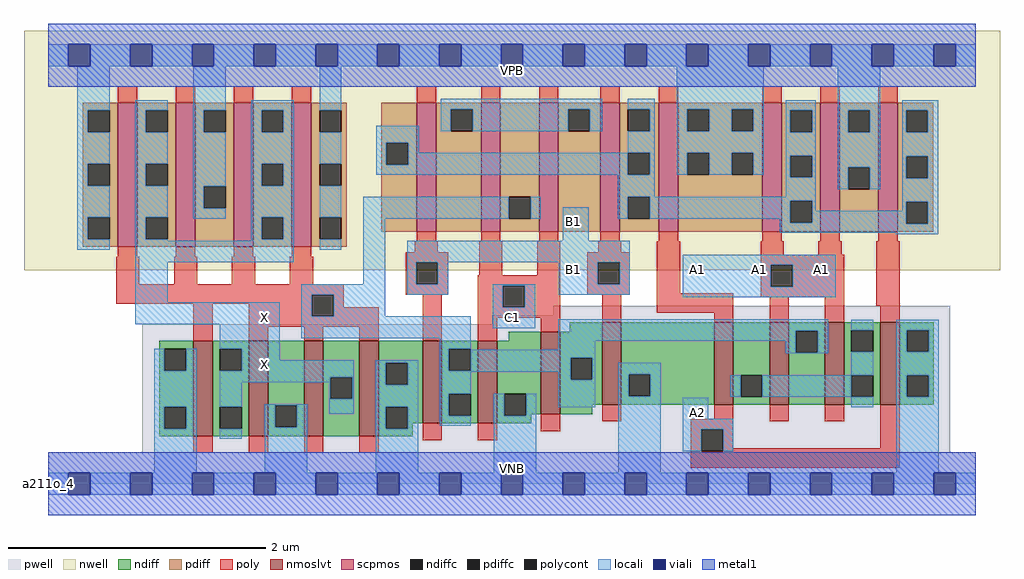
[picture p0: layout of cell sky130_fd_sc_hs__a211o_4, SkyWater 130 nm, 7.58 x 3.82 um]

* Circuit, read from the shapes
.subckt sky130_fd_sc_hs__a211o_4 A1 A2 B1 C1 VGND VNB VPB VPWR X
XM1 X n1 VGND VNB sky130_fd_pr__nfet_01v8_lvt w=0.74 l=0.15 m=4
XM2 n1 B1 VGND VNB sky130_fd_pr__nfet_01v8_lvt w=0.64 l=0.15 m=2
XM3 VGND C1 n1 VNB sky130_fd_pr__nfet_01v8_lvt w=0.64 l=0.15 m=2
XM4 n2 A2 VGND VNB sky130_fd_pr__nfet_01v8_lvt w=0.64 l=0.15 m=2
XM5 n1 A1 n2 VNB sky130_fd_pr__nfet_01v8_lvt w=0.64 l=0.15 m=2
XM6 X n1 VPWR VPB sky130_fd_pr__pfet_01v8 w=1.12 l=0.15 m=4
XM7 n3 B1 n4 VPB sky130_fd_pr__pfet_01v8 w=1 l=0.15 m=2
XM8 n1 C1 n3 VPB sky130_fd_pr__pfet_01v8 w=1 l=0.15 m=2
XM9 VPWR A2 n4 VPB sky130_fd_pr__pfet_01v8 w=1 l=0.15 m=2
XM10 n4 A1 VPWR VPB sky130_fd_pr__pfet_01v8 w=1 l=0.15 m=2
.ends

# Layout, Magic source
magic
tech sky130A
magscale 1 2
<< nwell >>
rect -38 332 1478 704
<< pwell >>
rect 784 262 1401 277
rect 689 248 1401 262
rect 146 49 1401 248
rect 0 0 1440 49
<< scpmos >>
rect 108 368 138 592
rect 198 368 228 592
rect 288 368 318 592
rect 378 368 408 592
rect 572 392 602 592
rect 672 392 702 592
rect 762 392 792 592
rect 857 392 887 592
rect 948 392 978 592
rect 1109 392 1139 592
rect 1199 392 1229 592
rect 1289 392 1319 592
<< nmoslvt >>
rect 225 74 255 222
rect 311 74 341 222
rect 397 74 427 222
rect 483 74 513 222
rect 581 94 611 222
rect 667 94 697 222
rect 765 108 795 236
rect 860 123 890 251
rect 1034 123 1064 251
rect 1120 123 1150 251
rect 1206 123 1236 251
rect 1292 123 1322 251
<< ndiff >>
rect 810 236 860 251
rect 715 222 765 236
rect 172 210 225 222
rect 172 176 180 210
rect 214 176 225 210
rect 172 120 225 176
rect 172 86 180 120
rect 214 86 225 120
rect 172 74 225 86
rect 255 210 311 222
rect 255 176 266 210
rect 300 176 311 210
rect 255 120 311 176
rect 255 86 266 120
rect 300 86 311 120
rect 255 74 311 86
rect 341 122 397 222
rect 341 88 352 122
rect 386 88 397 122
rect 341 74 397 88
rect 427 166 483 222
rect 427 132 438 166
rect 472 132 483 166
rect 427 74 483 132
rect 513 188 581 222
rect 513 154 524 188
rect 558 154 581 188
rect 513 120 581 154
rect 513 86 524 120
rect 558 94 581 120
rect 611 210 667 222
rect 611 176 622 210
rect 656 176 667 210
rect 611 140 667 176
rect 611 106 622 140
rect 656 106 667 140
rect 611 94 667 106
rect 697 140 765 222
rect 697 106 708 140
rect 742 108 765 140
rect 795 196 860 236
rect 795 162 811 196
rect 845 162 860 196
rect 795 123 860 162
rect 890 170 1034 251
rect 890 136 901 170
rect 935 136 1034 170
rect 890 123 1034 136
rect 1064 169 1120 251
rect 1064 135 1075 169
rect 1109 135 1120 169
rect 1064 123 1120 135
rect 1150 238 1206 251
rect 1150 204 1161 238
rect 1195 204 1206 238
rect 1150 123 1206 204
rect 1236 239 1292 251
rect 1236 205 1247 239
rect 1281 205 1292 239
rect 1236 169 1292 205
rect 1236 135 1247 169
rect 1281 135 1292 169
rect 1236 123 1292 135
rect 1322 239 1375 251
rect 1322 205 1333 239
rect 1367 205 1375 239
rect 1322 169 1375 205
rect 1322 135 1333 169
rect 1367 135 1375 169
rect 1322 123 1375 135
rect 795 108 845 123
rect 742 106 750 108
rect 697 94 750 106
rect 558 86 566 94
rect 513 74 566 86
<< pdiff >>
rect 53 580 108 592
rect 53 546 61 580
rect 95 546 108 580
rect 53 497 108 546
rect 53 463 61 497
rect 95 463 108 497
rect 53 414 108 463
rect 53 380 61 414
rect 95 380 108 414
rect 53 368 108 380
rect 138 580 198 592
rect 138 546 151 580
rect 185 546 198 580
rect 138 497 198 546
rect 138 463 151 497
rect 185 463 198 497
rect 138 414 198 463
rect 138 380 151 414
rect 185 380 198 414
rect 138 368 198 380
rect 228 580 288 592
rect 228 546 241 580
rect 275 546 288 580
rect 228 462 288 546
rect 228 428 241 462
rect 275 428 288 462
rect 228 368 288 428
rect 318 580 378 592
rect 318 546 331 580
rect 365 546 378 580
rect 318 497 378 546
rect 318 463 331 497
rect 365 463 378 497
rect 318 414 378 463
rect 318 380 331 414
rect 365 380 378 414
rect 318 368 378 380
rect 408 580 463 592
rect 408 546 421 580
rect 455 546 463 580
rect 408 497 463 546
rect 408 463 421 497
rect 455 463 463 497
rect 408 414 463 463
rect 408 380 421 414
rect 455 380 463 414
rect 517 530 572 592
rect 517 496 525 530
rect 559 496 572 530
rect 517 392 572 496
rect 602 582 672 592
rect 602 548 625 582
rect 659 548 672 582
rect 602 392 672 548
rect 702 446 762 592
rect 702 412 715 446
rect 749 412 762 446
rect 702 392 762 412
rect 792 582 857 592
rect 792 548 807 582
rect 841 548 857 582
rect 792 392 857 548
rect 887 582 948 592
rect 887 548 900 582
rect 934 548 948 582
rect 887 514 948 548
rect 887 480 900 514
rect 934 480 948 514
rect 887 446 948 480
rect 887 412 900 446
rect 934 412 948 446
rect 887 392 948 412
rect 978 582 1109 592
rect 978 548 992 582
rect 1026 548 1061 582
rect 1095 548 1109 582
rect 978 514 1109 548
rect 978 480 992 514
rect 1026 480 1061 514
rect 1095 480 1109 514
rect 978 392 1109 480
rect 1139 580 1199 592
rect 1139 546 1152 580
rect 1186 546 1199 580
rect 1139 510 1199 546
rect 1139 476 1152 510
rect 1186 476 1199 510
rect 1139 440 1199 476
rect 1139 406 1152 440
rect 1186 406 1199 440
rect 1139 392 1199 406
rect 1229 580 1289 592
rect 1229 546 1242 580
rect 1276 546 1289 580
rect 1229 492 1289 546
rect 1229 458 1242 492
rect 1276 458 1289 492
rect 1229 392 1289 458
rect 1319 580 1374 592
rect 1319 546 1332 580
rect 1366 546 1374 580
rect 1319 509 1374 546
rect 1319 475 1332 509
rect 1366 475 1374 509
rect 1319 438 1374 475
rect 1319 404 1332 438
rect 1366 404 1374 438
rect 1319 392 1374 404
rect 408 368 463 380
<< ndiffc >>
rect 180 176 214 210
rect 180 86 214 120
rect 266 176 300 210
rect 266 86 300 120
rect 352 88 386 122
rect 438 132 472 166
rect 524 154 558 188
rect 524 86 558 120
rect 622 176 656 210
rect 622 106 656 140
rect 708 106 742 140
rect 811 162 845 196
rect 901 136 935 170
rect 1075 135 1109 169
rect 1161 204 1195 238
rect 1247 205 1281 239
rect 1247 135 1281 169
rect 1333 205 1367 239
rect 1333 135 1367 169
<< pdiffc >>
rect 61 546 95 580
rect 61 463 95 497
rect 61 380 95 414
rect 151 546 185 580
rect 151 463 185 497
rect 151 380 185 414
rect 241 546 275 580
rect 241 428 275 462
rect 331 546 365 580
rect 331 463 365 497
rect 331 380 365 414
rect 421 546 455 580
rect 421 463 455 497
rect 421 380 455 414
rect 525 496 559 530
rect 625 548 659 582
rect 715 412 749 446
rect 807 548 841 582
rect 900 548 934 582
rect 900 480 934 514
rect 900 412 934 446
rect 992 548 1026 582
rect 1061 548 1095 582
rect 992 480 1026 514
rect 1061 480 1095 514
rect 1152 546 1186 580
rect 1152 476 1186 510
rect 1152 406 1186 440
rect 1242 546 1276 580
rect 1242 458 1276 492
rect 1332 546 1366 580
rect 1332 475 1366 509
rect 1332 404 1366 438
<< poly >>
rect 108 592 138 618
rect 198 592 228 618
rect 288 592 318 618
rect 378 592 408 618
rect 572 592 602 618
rect 672 592 702 618
rect 762 592 792 618
rect 857 592 887 618
rect 948 592 978 618
rect 1109 592 1139 618
rect 1199 592 1229 618
rect 1289 592 1319 618
rect 572 377 602 392
rect 672 377 702 392
rect 762 377 792 392
rect 857 377 887 392
rect 948 377 978 392
rect 1109 377 1139 392
rect 1199 377 1229 392
rect 1289 377 1319 392
rect 108 353 138 368
rect 198 353 228 368
rect 288 353 318 368
rect 378 353 408 368
rect 569 360 605 377
rect 105 310 141 353
rect 195 310 231 353
rect 285 310 321 353
rect 375 310 411 353
rect 555 344 621 360
rect 555 310 571 344
rect 605 310 621 344
rect 669 324 705 377
rect 759 324 795 377
rect 854 360 890 377
rect 105 294 459 310
rect 555 294 621 310
rect 667 308 795 324
rect 105 280 409 294
rect 225 222 255 280
rect 311 260 409 280
rect 443 274 459 294
rect 443 260 513 274
rect 311 244 513 260
rect 311 222 341 244
rect 397 222 427 244
rect 483 222 513 244
rect 581 222 611 294
rect 667 274 706 308
rect 740 274 795 308
rect 837 344 903 360
rect 837 310 853 344
rect 887 310 903 344
rect 837 294 903 310
rect 945 296 981 377
rect 1106 356 1142 377
rect 1196 356 1232 377
rect 1106 340 1236 356
rect 1106 306 1122 340
rect 1156 306 1236 340
rect 667 258 795 274
rect 667 222 697 258
rect 765 236 795 258
rect 860 251 890 294
rect 945 266 1064 296
rect 1106 290 1236 306
rect 1034 251 1064 266
rect 1120 251 1150 290
rect 1206 251 1236 290
rect 1286 277 1322 377
rect 1292 251 1322 277
rect 225 48 255 74
rect 311 48 341 74
rect 397 48 427 74
rect 483 48 513 74
rect 581 68 611 94
rect 667 68 697 94
rect 765 82 795 108
rect 860 97 890 123
rect 1034 101 1064 123
rect 998 85 1064 101
rect 1120 97 1150 123
rect 1206 97 1236 123
rect 998 51 1014 85
rect 1048 55 1064 85
rect 1292 55 1322 123
rect 1048 51 1322 55
rect 998 25 1322 51
<< polycont >>
rect 571 310 605 344
rect 409 260 443 294
rect 706 274 740 308
rect 853 310 887 344
rect 1122 306 1156 340
rect 1014 51 1048 85
<< locali >>
rect 0 649 31 683
rect 65 649 127 683
rect 161 649 223 683
rect 257 649 319 683
rect 353 649 415 683
rect 449 649 511 683
rect 545 649 607 683
rect 641 649 703 683
rect 737 649 799 683
rect 833 649 895 683
rect 929 649 991 683
rect 1025 649 1087 683
rect 1121 649 1183 683
rect 1217 649 1279 683
rect 1313 649 1375 683
rect 1409 649 1440 683
rect 45 580 95 649
rect 45 546 61 580
rect 45 497 95 546
rect 45 463 61 497
rect 45 414 95 463
rect 45 380 61 414
rect 45 364 95 380
rect 135 580 185 596
rect 135 546 151 580
rect 135 497 185 546
rect 135 463 151 497
rect 135 414 185 463
rect 135 380 151 414
rect 225 580 275 649
rect 225 546 241 580
rect 225 462 275 546
rect 225 428 241 462
rect 225 412 275 428
rect 315 580 381 596
rect 315 546 331 580
rect 365 546 381 580
rect 315 497 381 546
rect 315 463 331 497
rect 365 463 381 497
rect 315 414 381 463
rect 135 378 185 380
rect 315 380 331 414
rect 365 380 381 414
rect 315 378 381 380
rect 135 344 381 378
rect 421 580 455 649
rect 609 582 860 598
rect 421 497 455 546
rect 509 530 575 556
rect 609 548 625 582
rect 659 548 807 582
rect 841 548 860 582
rect 900 582 942 598
rect 934 548 942 582
rect 509 496 525 530
rect 559 514 575 530
rect 900 514 942 548
rect 559 496 900 514
rect 509 480 900 496
rect 934 480 942 514
rect 976 582 1111 649
rect 976 548 992 582
rect 1026 548 1061 582
rect 1095 548 1111 582
rect 976 514 1111 548
rect 976 480 992 514
rect 1026 480 1061 514
rect 1095 480 1111 514
rect 1145 580 1192 596
rect 1145 546 1152 580
rect 1186 546 1192 580
rect 1145 510 1192 546
rect 421 414 455 463
rect 884 446 942 480
rect 1145 476 1152 510
rect 1186 476 1192 510
rect 1145 446 1192 476
rect 1226 580 1292 649
rect 1226 546 1242 580
rect 1276 546 1292 580
rect 1226 492 1292 546
rect 1226 458 1242 492
rect 1276 458 1292 492
rect 1326 580 1382 596
rect 1326 546 1332 580
rect 1366 546 1382 580
rect 1326 509 1382 546
rect 1326 475 1332 509
rect 1366 475 1382 509
rect 421 364 455 380
rect 489 412 715 446
rect 749 412 765 446
rect 135 282 185 344
rect 489 310 523 412
rect 799 378 839 430
rect 884 412 900 446
rect 934 440 1192 446
rect 934 412 1152 440
rect 1136 406 1152 412
rect 1186 424 1192 440
rect 1326 438 1382 475
rect 1326 424 1332 438
rect 1186 406 1332 424
rect 1136 404 1332 406
rect 1366 404 1382 438
rect 1136 390 1382 404
rect 1316 388 1382 390
rect 393 294 523 310
rect 557 344 903 378
rect 557 310 571 344
rect 605 310 621 344
rect 793 310 853 344
rect 887 310 903 344
rect 557 294 621 310
rect 690 308 756 310
rect 135 248 359 282
rect 266 210 359 248
rect 393 260 409 294
rect 443 260 523 294
rect 690 274 706 308
rect 740 274 756 308
rect 793 294 903 310
rect 985 340 1223 356
rect 985 306 1122 340
rect 1156 306 1223 340
rect 985 290 1223 306
rect 393 226 656 260
rect 690 242 756 274
rect 164 176 180 210
rect 214 176 230 210
rect 164 120 230 176
rect 164 86 180 120
rect 214 86 230 120
rect 164 17 230 86
rect 300 192 359 210
rect 608 210 656 226
rect 300 176 474 192
rect 266 166 474 176
rect 266 158 438 166
rect 266 120 300 158
rect 436 132 438 158
rect 472 132 474 166
rect 266 70 300 86
rect 336 122 402 124
rect 336 88 352 122
rect 386 88 402 122
rect 436 109 474 132
rect 508 188 574 192
rect 508 154 524 188
rect 558 154 574 188
rect 508 120 574 154
rect 336 17 402 88
rect 508 86 524 120
rect 558 86 574 120
rect 608 176 622 210
rect 792 238 1211 256
rect 792 222 1161 238
rect 792 208 849 222
rect 656 196 849 208
rect 1145 204 1161 222
rect 1195 204 1211 238
rect 1145 203 1211 204
rect 1247 239 1281 255
rect 656 176 811 196
rect 608 174 811 176
rect 608 140 656 174
rect 792 162 811 174
rect 845 162 849 196
rect 608 106 622 140
rect 608 90 656 106
rect 692 106 708 140
rect 742 106 758 140
rect 792 119 849 162
rect 885 170 951 188
rect 885 136 901 170
rect 935 136 951 170
rect 1247 169 1281 205
rect 508 17 574 86
rect 692 17 758 106
rect 885 17 951 136
rect 1059 135 1075 169
rect 1109 135 1247 169
rect 985 101 1025 134
rect 1247 119 1281 135
rect 1317 239 1383 255
rect 1317 205 1333 239
rect 1367 205 1383 239
rect 1317 169 1383 205
rect 1317 135 1333 169
rect 1367 135 1383 169
rect 985 85 1064 101
rect 985 51 1014 85
rect 1048 51 1064 85
rect 1317 17 1383 135
rect 0 -17 31 17
rect 65 -17 127 17
rect 161 -17 223 17
rect 257 -17 319 17
rect 353 -17 415 17
rect 449 -17 511 17
rect 545 -17 607 17
rect 641 -17 703 17
rect 737 -17 799 17
rect 833 -17 895 17
rect 929 -17 991 17
rect 1025 -17 1087 17
rect 1121 -17 1183 17
rect 1217 -17 1279 17
rect 1313 -17 1375 17
rect 1409 -17 1440 17
<< viali >>
rect 31 649 65 683
rect 127 649 161 683
rect 223 649 257 683
rect 319 649 353 683
rect 415 649 449 683
rect 511 649 545 683
rect 607 649 641 683
rect 703 649 737 683
rect 799 649 833 683
rect 895 649 929 683
rect 991 649 1025 683
rect 1087 649 1121 683
rect 1183 649 1217 683
rect 1279 649 1313 683
rect 1375 649 1409 683
rect 31 -17 65 17
rect 127 -17 161 17
rect 223 -17 257 17
rect 319 -17 353 17
rect 415 -17 449 17
rect 511 -17 545 17
rect 607 -17 641 17
rect 703 -17 737 17
rect 799 -17 833 17
rect 895 -17 929 17
rect 991 -17 1025 17
rect 1087 -17 1121 17
rect 1183 -17 1217 17
rect 1279 -17 1313 17
rect 1375 -17 1409 17
<< metal1 >>
rect 0 683 1440 715
rect 0 649 31 683
rect 65 649 127 683
rect 161 649 223 683
rect 257 649 319 683
rect 353 649 415 683
rect 449 649 511 683
rect 545 649 607 683
rect 641 649 703 683
rect 737 649 799 683
rect 833 649 895 683
rect 929 649 991 683
rect 1025 649 1087 683
rect 1121 649 1183 683
rect 1217 649 1279 683
rect 1313 649 1375 683
rect 1409 649 1440 683
rect 0 617 1440 649
rect 0 17 1440 49
rect 0 -17 31 17
rect 65 -17 127 17
rect 161 -17 223 17
rect 257 -17 319 17
rect 353 -17 415 17
rect 449 -17 511 17
rect 545 -17 607 17
rect 641 -17 703 17
rect 737 -17 799 17
rect 833 -17 895 17
rect 929 -17 991 17
rect 1025 -17 1087 17
rect 1121 -17 1183 17
rect 1217 -17 1279 17
rect 1313 -17 1375 17
rect 1409 -17 1440 17
rect 0 -49 1440 -17
<< labels >>
rlabel comment s 0 0 0 0 4 a211o_4
flabel pwell s 0 0 1440 49 0 FreeSans 200 0 0 0 VNB
port 6 nsew ground bidirectional
flabel nwell s 0 617 1440 666 0 FreeSans 200 0 0 0 VPB
port 7 nsew power bidirectional
flabel metal1 s 0 617 1440 666 0 FreeSans 340 0 0 0 VPWR
port 8 nsew power bidirectional
flabel metal1 s 0 0 1440 49 0 FreeSans 340 0 0 0 VGND
port 5 nsew ground bidirectional
flabel locali s 319 168 353 202 0 FreeSans 340 0 0 0 X
port 9 nsew signal output
flabel locali s 319 242 353 276 0 FreeSans 340 0 0 0 X
port 9 nsew signal output
flabel locali s 703 242 737 276 0 FreeSans 340 0 0 0 C1
port 4 nsew signal input
flabel locali s 799 316 833 350 0 FreeSans 340 0 0 0 B1
port 3 nsew signal input
flabel locali s 799 390 833 424 0 FreeSans 340 0 0 0 B1
port 3 nsew signal input
flabel locali s 991 94 1025 128 0 FreeSans 340 0 0 0 A2
port 2 nsew signal input
flabel locali s 991 316 1025 350 0 FreeSans 340 0 0 0 A1
port 1 nsew signal input
flabel locali s 1087 316 1121 350 0 FreeSans 340 0 0 0 A1
port 1 nsew signal input
flabel locali s 1183 316 1217 350 0 FreeSans 340 0 0 0 A1
port 1 nsew signal input
<< properties >>
string LEFsite unit
string LEFclass CORE
string FIXED_BBOX 0 0 1440 666
string GDS_FILE $PDKPATH/libs.ref/sky130_fd_sc_hs/gds/sky130_fd_sc_hs.gds
string LEFsymmetry X Y
string GDS_END 1034368
string GDS_START 1022772
<< end >>
